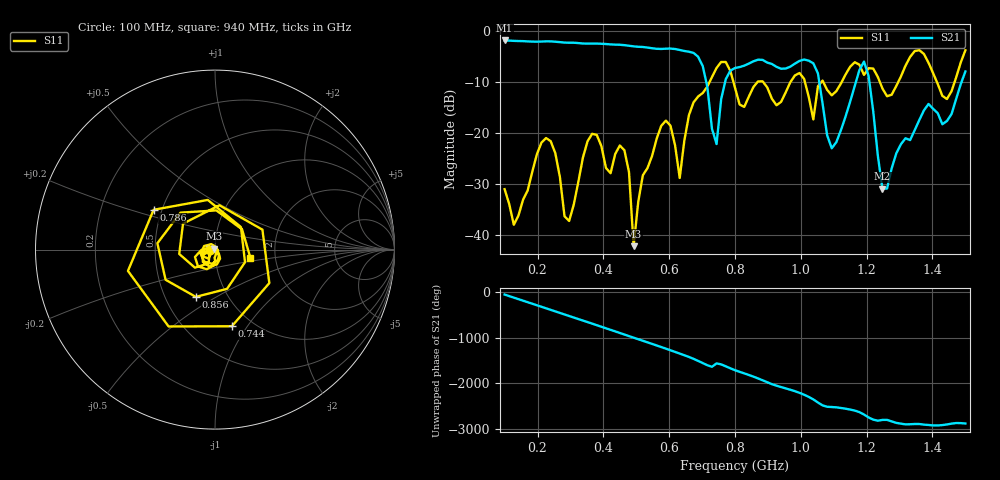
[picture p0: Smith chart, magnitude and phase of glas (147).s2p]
! NanoVNA-App
! Date: 2025-09-25 15:56:37
! Start: 100MHz Stop: 1,5GHz Points: 101
! S-Parameter data: F S11 S21 S12 S22
# Hz S RI R 50
!  Frequency  S11_Real  S11_Imag  S21_Real  S21_Imag  S12_Real  S12_Imag  S22_Real  S22_Imag
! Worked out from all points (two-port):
!   101 points, 100 MHz to 1.5 GHz, reference 50 ohm
!   highest |S21| = -1.80 dB at 100 MHz (marker M1); lowest = -30.9 dB at 1.248 GHz (marker M2)
!   |S21| within 3 dB of the highest: start of sweep to 684.4 MHz
!   lowest |S11| = -42.1 dB at 492 MHz (marker M3), VSWR 1.02, Z = 49.5 + j0.594 ohm
!   |S11| at or under -10 dB: start of sweep to 722.4 MHz; 795.4 MHz to 867.8 MHz (72.36 MHz wide, 8.7 % of centre); 886.2 MHz to 967.9 MHz (81.79 MHz wide, 8.82 % of centre) (the widest 3 of 7)
!   S12 and S22 are empty: the file has one direction only
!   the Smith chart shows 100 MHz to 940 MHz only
!   S11 on the Smith chart (normalised r, x): 100 MHz: 0.95, -0.01; 744 MHz: 0.81, -0.85; 786 MHz: 0.45, +0.24; 856 MHz: 0.71, -0.41; 940 MHz: 1.48, -0.15
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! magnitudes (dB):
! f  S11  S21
! 100 MHz  -30.9  -1.8
! 128 MHz  -37.9  -1.9
! 226 MHz  -20.9  -2.0
! 296 MHz  -37.2  -2.2
! 338 MHz  -24.7  -2.4
! 464 MHz  -23.3  -2.7
! 492 MHz  -42.1  -3.0
! 576 MHz  -18.5  -3.5
! 632 MHz  -28.8  -3.7
! 702 MHz  -12.1  -6.8
! 744 MHz  -7.2  -22.1
! 786 MHz  -7.8  -7.7
! 800 MHz  -11.1  -7.2
! 856 MHz  -10.9  -5.9
! 940 MHz  -13.8  -7.3
! 996 MHz  -8.2  -5.8
! 1.038 GHz  -17.3  -6.3
! 1.094 GHz  -12.6  -22.9
! 1.192 GHz  -8.6  -5.9
! 1.248 GHz  -11.2  -30.9
! 1.276 GHz  -12.4  -26.9
! 1.5 GHz  -3.7  -7.9
